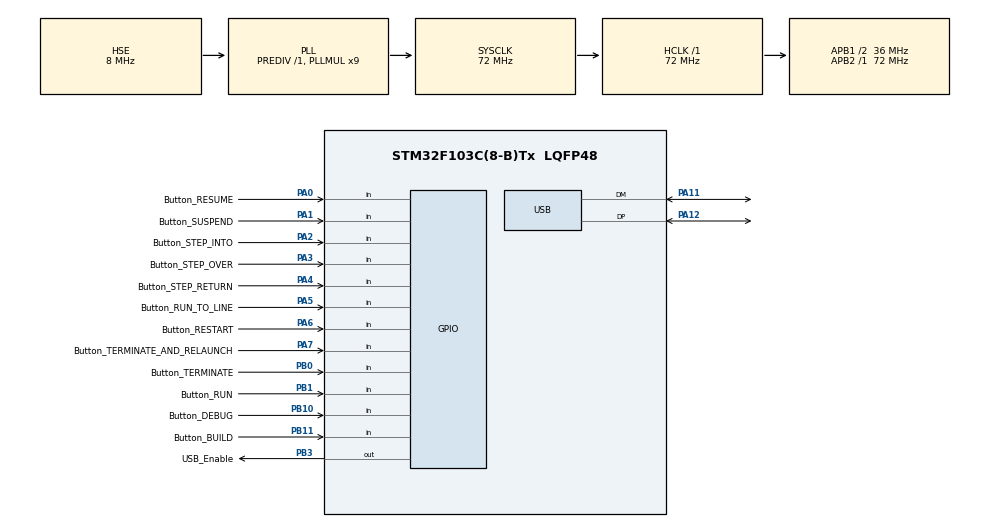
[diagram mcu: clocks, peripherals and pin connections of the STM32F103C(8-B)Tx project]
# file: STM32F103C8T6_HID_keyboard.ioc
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Mcu.Family=STM32F1
Mcu.Name=STM32F103C(8-B)Tx
Mcu.Package=LQFP48
NVIC.PriorityGroup=NVIC_PRIORITYGROUP_4
NVIC.USB_LP_CAN1_RX0_IRQn=true\:0\:0\:false\:false\:true\:false
PA0-WKUP.GPIO_Label=Button_RESUME
PA0-WKUP.GPIO_Mode=GPIO_MODE_INPUT
PA0-WKUP.GPIO_PuPd=GPIO_PULLUP
PA0-WKUP.Signal=GPIO_Input
PA1.GPIO_Label=Button_SUSPEND
PA1.GPIO_Mode=GPIO_MODE_INPUT
PA1.GPIO_PuPd=GPIO_PULLUP
PA1.Signal=GPIO_Input
PA11.Mode=Device
PA11.Signal=USB_DM
PA12.Mode=Device
PA12.Signal=USB_DP
PA13.Mode=Serial_Wire
PA13.Signal=SYS_JTMS-SWDIO
PA14.Mode=Serial_Wire
PA14.Signal=SYS_JTCK-SWCLK
PA2.GPIO_Label=Button_STEP_INTO
PA2.GPIO_Mode=GPIO_MODE_INPUT
PA2.GPIO_PuPd=GPIO_PULLUP
PA2.Signal=GPIO_Input
PA3.GPIO_Label=Button_STEP_OVER
PA3.GPIO_Mode=GPIO_MODE_INPUT
PA3.GPIO_PuPd=GPIO_PULLUP
PA3.Signal=GPIO_Input
PA4.GPIO_Label=Button_STEP_RETURN
PA4.GPIO_Mode=GPIO_MODE_INPUT
PA4.GPIO_PuPd=GPIO_PULLUP
PA4.Signal=GPIO_Input
PA5.GPIO_Label=Button_RUN_TO_LINE
PA5.GPIO_Mode=GPIO_MODE_INPUT
PA5.GPIO_PuPd=GPIO_PULLUP
PA5.Signal=GPIO_Input
PA6.GPIO_Label=Button_RESTART
PA6.GPIO_Mode=GPIO_MODE_INPUT
PA6.GPIO_PuPd=GPIO_PULLUP
PA6.Signal=GPIO_Input
PA7.GPIO_Label=Button_TERMINATE_AND_RELAUNCH
PA7.GPIO_Mode=GPIO_MODE_INPUT
PA7.GPIO_PuPd=GPIO_PULLUP
PA7.Signal=GPIO_Input
PB0.GPIO_Label=Button_TERMINATE
PB0.GPIO_Mode=GPIO_MODE_INPUT
PB0.GPIO_PuPd=GPIO_PULLUP
PB0.Signal=GPIO_Input
PB1.GPIO_Label=Button_RUN
PB1.GPIO_Mode=GPIO_MODE_INPUT
PB1.GPIO_PuPd=GPIO_PULLUP
PB1.Signal=GPIO_Input
PB10.GPIO_Label=Button_DEBUG
PB10.GPIO_Mode=GPIO_MODE_INPUT
PB10.GPIO_PuPd=GPIO_PULLUP
PB10.Signal=GPIO_Input
PB11.GPIO_Label=Button_BUILD
PB11.GPIO_Mode=GPIO_MODE_INPUT
PB11.GPIO_PuPd=GPIO_PULLUP
PB11.Signal=GPIO_Input
PB3.GPIO_Label=USB_Enable
PB3.GPIO_Speed=GPIO_SPEED_FREQ_HIGH
PB3.Signal=GPIO_Output
PD0-OSC_IN.Mode=HSE-External-Oscillator
PD0-OSC_IN.Signal=RCC_OSC_IN
PD1-OSC_OUT.Mode=HSE-External-Oscillator
PD1-OSC_OUT.Signal=RCC_OSC_OUT
ProjectManager.HeapSize=0x200
ProjectManager.StackSize=0x4000
ProjectManager.TargetToolchain=TrueSTUDIO
RCC.AHBFreq_Value=72000000
RCC.APB1CLKDivider=RCC_HCLK_DIV2
RCC.APB1Freq_Value=36000000
RCC.APB1TimFreq_Value=72000000
RCC.APB2Freq_Value=72000000
RCC.APB2TimFreq_Value=72000000
RCC.HCLKFreq_Value=72000000
RCC.PLLMUL=RCC_PLL_MUL9
RCC.SYSCLKFreq_VALUE=72000000
RCC.SYSCLKSource=RCC_SYSCLKSOURCE_PLLCLK
RCC.USBFreq_Value=48000000
RCC.USBPrescaler=RCC_USBCLKSOURCE_PLL_DIV1_5
USB_DEVICE.CLASS_NAME_FS=HID
USB_DEVICE.VirtualMode=Hid
USB_DEVICE.VirtualModeFS=Hid_FS
VP_USB_DEVICE_VS_USB_DEVICE_HID_FS.Mode=HID_FS
board=STM32F103C8T6_HID_keyboard

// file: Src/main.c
/**
  ******************************************************************************
  * File Name          : main.c
  * Description        : Main program body
  ******************************************************************************
  * This notice applies to any and all portions of this file
  * that are not between comment pairs USER CODE BEGIN and
  * USER CODE END. Other portions of this file, whether
  * inserted by the user or by software development tools
  * are owned by their respective copyright owners.
  *
  * Copyright (c) 2018 STMicroelectronics International N.V.
  * All rights reserved.
  *
  * Redistribution and use in source and binary forms, with or without
  * modification, are permitted, provided that the following conditions are met:
  *
  * 1. Redistribution of source code must retain the above copyright notice,
  *    this list of conditions and the following disclaimer.
  * 2. Redistributions in binary form must reproduce the above copyright notice,
  *    this list of conditions and the following disclaimer in the documentation
  *    and/or other materials provided with the distribution.
  * 3. Neither the name of STMicroelectronics nor the names of other
  *    contributors to this software may be used to endorse or promote products
  *    derived from this software without specific written permission.
  * 4. This software, including modifications and/or derivative works of this
  *    software, must execute solely and exclusively on microcontroller or
  *    microprocessor devices manufactured by or for STMicroelectronics.
  * 5. Redistribution and use of this software other than as permitted under
  *    this license is void and will automatically terminate your rights under
  *    this license.
  *
  * THIS SOFTWARE IS PROVIDED BY STMICROELECTRONICS AND CONTRIBUTORS "AS IS"
  * AND ANY EXPRESS, IMPLIED OR STATUTORY WARRANTIES, INCLUDING, BUT NOT
  * LIMITED TO, THE IMPLIED WARRANTIES OF MERCHANTABILITY, FITNESS FOR A
  * PARTICULAR PURPOSE AND NON-INFRINGEMENT OF THIRD PARTY INTELLECTUAL PROPERTY
  * RIGHTS ARE DISCLAIMED TO THE FULLEST EXTENT PERMITTED BY LAW. IN NO EVENT
  * SHALL STMICROELECTRONICS OR CONTRIBUTORS BE LIABLE FOR ANY DIRECT, INDIRECT,
  * INCIDENTAL, SPECIAL, EXEMPLARY, OR CONSEQUENTIAL DAMAGES (INCLUDING, BUT NOT
  * LIMITED TO, PROCUREMENT OF SUBSTITUTE GOODS OR SERVICES; LOSS OF USE, DATA,
  * OR PROFITS; OR BUSINESS INTERRUPTION) HOWEVER CAUSED AND ON ANY THEORY OF
  * LIABILITY, WHETHER IN CONTRACT, STRICT LIABILITY, OR TORT (INCLUDING
  * NEGLIGENCE OR OTHERWISE) ARISING IN ANY WAY OUT OF THE USE OF THIS SOFTWARE,
  * EVEN IF ADVISED OF THE POSSIBILITY OF SUCH DAMAGE.
  *
  ******************************************************************************
  */
#include "main.h"
#include "stm32f1xx_hal.h"
#include "usb_device.h"

/* USER CODE BEGIN Includes */
// USB keyboard codes
#define USB_HID_MODIFIER_LEFT_CTRL   0x01
#define USB_HID_MODIFIER_LEFT_SHIFT  0x02
#define USB_HID_MODIFIER_LEFT_ALT    0x04
#define USB_HID_MODIFIER_LEFT_GUI    0x08 // (Win/Apple/Meta)
#define USB_HID_MODIFIER_RIGHT_CTRL  0x10
#define USB_HID_MODIFIER_RIGHT_SHIFT 0x20
#define USB_HID_MODIFIER_RIGHT_ALT   0x40
#define USB_HID_MODIFIER_RIGHT_GUI   0x80

#include "usbd_hid.h"
#include "usb_hid_keys.h"
/* USER CODE END Includes */

/* USER CODE BEGIN PV */
/* Private variables ---------------------------------------------------------*/

/* USER CODE END PV */

void SystemClock_Config(void);
static void MX_GPIO_Init(void);

/* USER CODE BEGIN PFP */
/* Private function prototypes -----------------------------------------------*/

/* USER CODE END PFP */

/* USER CODE BEGIN 0 */
struct keyboardHID_t
{
	uint8_t id;
	uint8_t modifiers;
	uint8_t key1;
	uint8_t key2;
	uint8_t key3;
};
struct keyboardHID_t keyboardHID;
/* USER CODE END 0 */

int main(void)
{

  /* MCU Configuration----------------------------------------------------------*/

  /* Reset of all peripherals, Initializes the Flash interface and the Systick. */
  HAL_Init();

  /* Configure the system clock */
  SystemClock_Config();

  /* Initialize all configured peripherals */
  MX_GPIO_Init();
  MX_USB_DEVICE_Init();

  /* USER CODE BEGIN 2 */
  keyboardHID.id = 1;
  keyboardHID.modifiers = 0;
  keyboardHID.key1 = 0;
  keyboardHID.key2 = 0;
  keyboardHID.key3 = 0;
  HAL_Delay(800);
  HAL_GPIO_WritePin(USB_Enable_GPIO_Port, USB_Enable_Pin, SET);
  /* USER CODE END 2 */

  /* Infinite loop */
  while (1)
  {

  /* USER CODE BEGIN 3 */

	  if(!HAL_GPIO_ReadPin(Button_RESUME_GPIO_Port, Button_RESUME_Pin))
	  {
			keyboardHID.key1 = KEY_F8;
			USBD_HID_SendReport(&hUsbDeviceFS, &keyboardHID, sizeof(struct keyboardHID_t));
			HAL_Delay(20);
			while(!HAL_GPIO_ReadPin(Button_RESUME_GPIO_Port, Button_RESUME_Pin));
			keyboardHID.key1 = 0;
			USBD_HID_SendReport(&hUsbDeviceFS, &keyboardHID, sizeof(struct keyboardHID_t));
			HAL_Delay(20);
	  }

	  if(!HAL_GPIO_ReadPin(Button_SUSPEND_GPIO_Port, Button_SUSPEND_Pin))
	  {
			keyboardHID.key1 = KEY_F9;
			USBD_HID_SendReport(&hUsbDeviceFS, &keyboardHID, sizeof(struct keyboardHID_t));
			HAL_Delay(20);
			while(!HAL_GPIO_ReadPin(Button_SUSPEND_GPIO_Port, Button_SUSPEND_Pin));
			keyboardHID.key1 = 0;
			USBD_HID_SendReport(&hUsbDeviceFS, &keyboardHID, sizeof(struct keyboardHID_t));
			HAL_Delay(20);
	  }

	  if(!HAL_GPIO_ReadPin(Button_STEP_INTO_GPIO_Port, Button_STEP_INTO_Pin))
	  {
			keyboardHID.key1 = KEY_F5;
			USBD_HID_SendReport(&hUsbDeviceFS, &keyboardHID, sizeof(struct keyboardHID_t));
			HAL_Delay(20);
			while(!HAL_GPIO_ReadPin(Button_STEP_INTO_GPIO_Port, Button_STEP_INTO_Pin));
			keyboardHID.key1 = 0;
			USBD_HID_SendReport(&hUsbDeviceFS, &keyboardHID, sizeof(struct keyboardHID_t));
			HAL_Delay(20);
	  }

	  if(!HAL_GPIO_ReadPin(Button_STEP_OVER_GPIO_Port, Button_STEP_OVER_Pin))
	  {
			keyboardHID.key1 = KEY_F6;
			USBD_HID_SendReport(&hUsbDeviceFS, &keyboardHID, sizeof(struct keyboardHID_t));
			HAL_Delay(20);
			while(!HAL_GPIO_ReadPin(Button_STEP_OVER_GPIO_Port, Button_STEP_OVER_Pin));
			keyboardHID.key1 = 0;
			USBD_HID_SendReport(&hUsbDeviceFS, &keyboardHID, sizeof(struct keyboardHID_t));
			HAL_Delay(20);
	  }

	  if(!HAL_GPIO_ReadPin(Button_STEP_RETURN_GPIO_Port, Button_STEP_RETURN_Pin))
	  {
			keyboardHID.key1 = KEY_F7;
			USBD_HID_SendReport(&hUsbDeviceFS, &keyboardHID, sizeof(struct keyboardHID_t));
			HAL_Delay(20);
			while(!HAL_GPIO_ReadPin(Button_STEP_RETURN_GPIO_Port, Button_STEP_RETURN_Pin));
			keyboardHID.key1 = 0;
			USBD_HID_SendReport(&hUsbDeviceFS, &keyboardHID, sizeof(struct keyboardHID_t));
			HAL_Delay(20);
	  }

	  if(!HAL_GPIO_ReadPin(Button_RUN_TO_LINE_GPIO_Port, Button_RUN_TO_LINE_Pin))
	  {
			keyboardHID.modifiers = USB_HID_MODIFIER_LEFT_CTRL;
			keyboardHID.key1 = KEY_R;
			USBD_HID_SendReport(&hUsbDeviceFS, &keyboardHID, sizeof(struct keyboardHID_t));
			HAL_Delay(20);
			while(!HAL_GPIO_ReadPin(Button_RUN_TO_LINE_GPIO_Port, Button_RUN_TO_LINE_Pin));
			keyboardHID.modifiers = 0;
			keyboardHID.key1 = 0;
			USBD_HID_SendReport(&hUsbDeviceFS, &keyboardHID, sizeof(struct keyboardHID_t));
			HAL_Delay(20);
	  }

	  if(!HAL_GPIO_ReadPin(Button_RESTART_GPIO_Port, Button_RESTART_Pin))
	  {
			keyboardHID.key1 = KEY_F10;
			USBD_HID_SendReport(&hUsbDeviceFS, &keyboardHID, sizeof(struct keyboardHID_t));
			HAL_Delay(20);
			while(!HAL_GPIO_ReadPin(Button_RESTART_GPIO_Port, Button_RESTART_Pin));
			keyboardHID.key1 = 0;
			USBD_HID_SendReport(&hUsbDeviceFS, &keyboardHID, sizeof(struct keyboardHID_t));
			HAL_Delay(20);
	  }

	  if(!HAL_GPIO_ReadPin(Button_TERMINATE_AND_RELAUNCH_GPIO_Port, Button_TERMINATE_AND_RELAUNCH_Pin))
	  {
			keyboardHID.modifiers = USB_HID_MODIFIER_LEFT_CTRL;
			keyboardHID.key1 = KEY_F8;
			USBD_HID_SendReport(&hUsbDeviceFS, &keyboardHID, sizeof(struct keyboardHID_t));
			HAL_Delay(20);
			while(!HAL_GPIO_ReadPin(Button_TERMINATE_AND_RELAUNCH_GPIO_Port, Button_TERMINATE_AND_RELAUNCH_Pin));
			keyboardHID.modifiers = 0;
			keyboardHID.key1 = 0;
			USBD_HID_SendReport(&hUsbDeviceFS, &keyboardHID, sizeof(struct keyboardHID_t));
			HAL_Delay(20);
	  }

	  if(!HAL_GPIO_ReadPin(Button_TERMINATE_GPIO_Port, Button_TERMINATE_Pin))
	  {
			keyboardHID.modifiers = USB_HID_MODIFIER_LEFT_CTRL;
			keyboardHID.key1 = KEY_F2;
			USBD_HID_SendReport(&hUsbDeviceFS, &keyboardHID, sizeof(struct keyboardHID_t));
			HAL_Delay(20);
			while(!HAL_GPIO_ReadPin(Button_TERMINATE_GPIO_Port, Button_TERMINATE_Pin));
			keyboardHID.modifiers = 0;
			keyboardHID.key1 = 0;
			USBD_HID_SendReport(&hUsbDeviceFS, &keyboardHID, sizeof(struct keyboardHID_t));
			HAL_Delay(20);
	  }

	  if(!HAL_GPIO_ReadPin(Button_RUN_GPIO_Port, Button_RUN_Pin))
	  {
			keyboardHID.modifiers = USB_HID_MODIFIER_LEFT_CTRL;
			keyboardHID.key1 = KEY_F11;
			USBD_HID_SendReport(&hUsbDeviceFS, &keyboardHID, sizeof(struct keyboardHID_t));
			HAL_Delay(20);
			while(!HAL_GPIO_ReadPin(Button_RUN_GPIO_Port, Button_RUN_Pin));
			keyboardHID.modifiers = 0;
			keyboardHID.key1 = 0;
			USBD_HID_SendReport(&hUsbDeviceFS, &keyboardHID, sizeof(struct keyboardHID_t));
			HAL_Delay(20);
	  }

	  if(!HAL_GPIO_ReadPin(Button_DEBUG_GPIO_Port, Button_DEBUG_Pin))
	  {
			keyboardHID.key1 = KEY_F11;
			USBD_HID_SendReport(&hUsbDeviceFS, &keyboardHID, sizeof(struct keyboardHID_t));
			HAL_Delay(20);
			while(!HAL_GPIO_ReadPin(Button_DEBUG_GPIO_Port, Button_DEBUG_Pin));
			keyboardHID.key1 = 0;
			USBD_HID_SendReport(&hUsbDeviceFS, &keyboardHID, sizeof(struct keyboardHID_t));
			HAL_Delay(20);
	  }

	  if(!HAL_GPIO_ReadPin(Button_BUILD_GPIO_Port, Button_BUILD_Pin))
	  {
			keyboardHID.modifiers = USB_HID_MODIFIER_LEFT_CTRL;
			keyboardHID.key1 = KEY_B;
			USBD_HID_SendReport(&hUsbDeviceFS, &keyboardHID, sizeof(struct keyboardHID_t));
			HAL_Delay(20);
			while(!HAL_GPIO_ReadPin(Button_BUILD_GPIO_Port, Button_BUILD_Pin));
			keyboardHID.modifiers = 0;
			keyboardHID.key1 = 0;
			USBD_HID_SendReport(&hUsbDeviceFS, &keyboardHID, sizeof(struct keyboardHID_t));
			HAL_Delay(20);
	  }
  }
  /* USER CODE END 3 */

}

/** System Clock Configuration
*/
void SystemClock_Config(void)
{

  RCC_OscInitTypeDef RCC_OscInitStruct;
  RCC_ClkInitTypeDef RCC_ClkInitStruct;
  RCC_PeriphCLKInitTypeDef PeriphClkInit;

    /**Initializes the CPU, AHB and APB busses clocks
    */
  RCC_OscInitStruct.OscillatorType = RCC_OSCILLATORTYPE_HSE;
  RCC_OscInitStruct.HSEState = RCC_HSE_ON;
  RCC_OscInitStruct.HSEPredivValue = RCC_HSE_PREDIV_DIV1;
  RCC_OscInitStruct.HSIState = RCC_HSI_ON;
  RCC_OscInitStruct.PLL.PLLState = RCC_PLL_ON;
  RCC_OscInitStruct.PLL.PLLSource = RCC_PLLSOURCE_HSE;
  RCC_OscInitStruct.PLL.PLLMUL = RCC_PLL_MUL9;
  if (HAL_RCC_OscConfig(&RCC_OscInitStruct) != HAL_OK)
  {
    _Error_Handler(__FILE__, __LINE__);
  }

    /**Initializes the CPU, AHB and APB busses clocks
    */
  RCC_ClkInitStruct.ClockType = RCC_CLOCKTYPE_HCLK|RCC_CLOCKTYPE_SYSCLK
                              |RCC_CLOCKTYPE_PCLK1|RCC_CLOCKTYPE_PCLK2;
  RCC_ClkInitStruct.SYSCLKSource = RCC_SYSCLKSOURCE_PLLCLK;
  RCC_ClkInitStruct.AHBCLKDivider = RCC_SYSCLK_DIV1;
  RCC_ClkInitStruct.APB1CLKDivider = RCC_HCLK_DIV2;
  RCC_ClkInitStruct.APB2CLKDivider = RCC_HCLK_DIV1;

  if (HAL_RCC_ClockConfig(&RCC_ClkInitStruct, FLASH_LATENCY_2) != HAL_OK)
  {
    _Error_Handler(__FILE__, __LINE__);
  }

  PeriphClkInit.PeriphClockSelection = RCC_PERIPHCLK_USB;
  PeriphClkInit.UsbClockSelection = RCC_USBCLKSOURCE_PLL_DIV1_5;
  if (HAL_RCCEx_PeriphCLKConfig(&PeriphClkInit) != HAL_OK)
  {
    _Error_Handler(__FILE__, __LINE__);
  }

    /**Configure the Systick interrupt time
    */
  HAL_SYSTICK_Config(HAL_RCC_GetHCLKFreq()/1000);

    /**Configure the Systick
    */
  HAL_SYSTICK_CLKSourceConfig(SYSTICK_CLKSOURCE_HCLK);

  /* SysTick_IRQn interrupt configuration */
  HAL_NVIC_SetPriority(SysTick_IRQn, 0, 0);
}

/** Configure pins as
        * Analog
        * Input
        * Output
        * EVENT_OUT
        * EXTI
*/
static void MX_GPIO_Init(void)
{

  GPIO_InitTypeDef GPIO_InitStruct;

  /* GPIO Ports Clock Enable */
  __HAL_RCC_GPIOD_CLK_ENABLE();
  __HAL_RCC_GPIOA_CLK_ENABLE();
  __HAL_RCC_GPIOB_CLK_ENABLE();

  /*Configure GPIO pin Output Level */
  HAL_GPIO_WritePin(USB_Enable_GPIO_Port, USB_Enable_Pin, GPIO_PIN_RESET);

  /*Configure GPIO pins : Button_RESUME_Pin Button_SUSPEND_Pin Button_STEP_INTO_Pin Button_STEP_OVER_Pin
                           Button_STEP_RETURN_Pin Button_RUN_TO_LINE_Pin Button_RESTART_Pin Button_TERMINATE_AND_RELAUNCH_Pin */
  GPIO_InitStruct.Pin = Button_RESUME_Pin|Button_SUSPEND_Pin|Button_STEP_INTO_Pin|Button_STEP_OVER_Pin
                          |Button_STEP_RETURN_Pin|Button_RUN_TO_LINE_Pin|Button_RESTART_Pin|Button_TERMINATE_AND_RELAUNCH_Pin;
  GPIO_InitStruct.Mode = GPIO_MODE_INPUT;
  GPIO_InitStruct.Pull = GPIO_PULLUP;
  HAL_GPIO_Init(GPIOA, &GPIO_InitStruct);

  /*Configure GPIO pins : Button_TERMINATE_Pin Button_RUN_Pin Button_DEBUG_Pin Button_BUILD_Pin */
  GPIO_InitStruct.Pin = Button_TERMINATE_Pin|Button_RUN_Pin|Button_DEBUG_Pin|Button_BUILD_Pin;
  GPIO_InitStruct.Mode = GPIO_MODE_INPUT;
  GPIO_InitStruct.Pull = GPIO_PULLUP;
  HAL_GPIO_Init(GPIOB, &GPIO_InitStruct);

  /*Configure GPIO pin : USB_Enable_Pin */
  GPIO_InitStruct.Pin = USB_Enable_Pin;
  GPIO_InitStruct.Mode = GPIO_MODE_OUTPUT_PP;
  GPIO_InitStruct.Speed = GPIO_SPEED_FREQ_HIGH;
  HAL_GPIO_Init(USB_Enable_GPIO_Port, &GPIO_InitStruct);

}

void _Error_Handler(char * file, int line)
{
  while(1)
  {
  }
}

/************************ (C) COPYRIGHT STMicroelectronics *****END OF FILE****/
